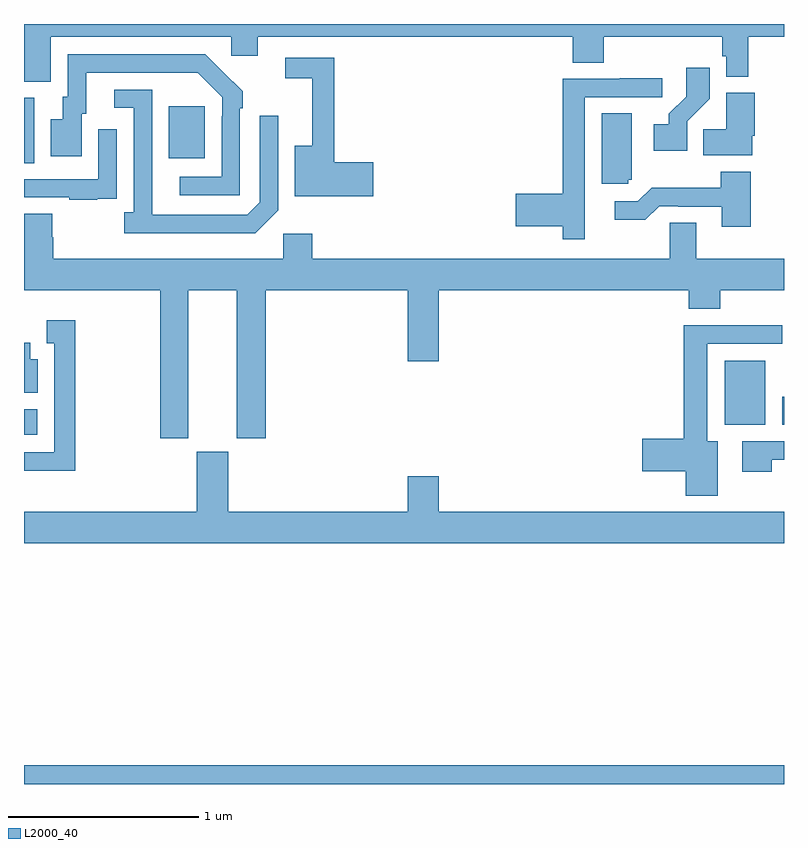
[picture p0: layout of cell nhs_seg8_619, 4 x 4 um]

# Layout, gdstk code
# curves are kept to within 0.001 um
import gdstk
lib = gdstk.Library(unit=1e-6, precision=1e-09)
def R(c, l, rs):  # rectangles x0, y0, x1, y1
    for r in rs: c.add(gdstk.rectangle(r[:2], r[2:], *l))
def P(c, l, *ps):  # polygons
    for p in ps: c.add(gdstk.Polygon(p, *l))
L2000_40 = (2000, 40)

nhs_seg8_619 = lib.new_cell('nhs_seg8_619')
R(nhs_seg8_619, L2000_40, [(151,1113.9,155,1114), (151,1115.738,151.069,1115.872), (154.688,1115.792,154.9,1116.127), (154.991,1115.792,155,1115.938), (151,1117.168,151.054,1117.512), (151.763,1117.193,151.951,1117.468)])
P(nhs_seg8_619, L2000_40, [(151.141,1117.832),(152.091,1117.832),(152.091,1117.734),(152.23,1117.734),(152.23,1117.832),(153.887,1117.832),(153.887,1117.696),(154.052,1117.696),(154.052,1117.832),(154.675,1117.832),(154.675,1117.731),(154.695,1117.731),(154.695,1117.622),(154.811,1117.622),(154.811,1117.832),(155,1117.832),(155,1117.9),(151,1117.9),(151,1117.832),(151.001,1117.832),(151.001,1117.597),(151.141,1117.597)],
  [(152.136,1117.457),(152.151,1117.457),(152.151,1117.545),(151.954,1117.74),(151.23,1117.74),(151.23,1117.518),(151.205,1117.518),(151.205,1117.399),(151.142,1117.399),(151.142,1117.203),(151.303,1117.203),(151.303,1117.428),(151.327,1117.428),(151.327,1117.644),(151.915,1117.644),(152.043,1117.515),(152.043,1117.415),(152.04,1117.415),(152.04,1117.095),(151.821,1117.095),(151.821,1116.999),(152.136,1116.999)],
  [(152.839,1117.172),(152.633,1117.172),(152.633,1117.722),(152.376,1117.722),(152.376,1117.614),(152.516,1117.614),(152.516,1117.258),(152.426,1117.258),(152.426,1116.994),(152.839,1116.994)],
  [(154.491,1117.387),(154.61,1117.506),(154.61,1117.669),(154.485,1117.669),(154.485,1117.517),(154.394,1117.427),(154.394,1117.372),(154.314,1117.372),(154.314,1117.232),(154.491,1117.232)],
  [(153.952,1116.99),(153.951,1116.99),(153.951,1117.515),(154.36,1117.515),(154.36,1117.614),(154.135,1117.614),(154.135,1117.611),(153.835,1117.611),(153.835,1117.007),(153.588,1117.007),(153.588,1116.836),(153.835,1116.836),(153.835,1116.768),(153.952,1116.768)],
  [(152.337,1116.921),(152.337,1117.417),(152.241,1117.417),(152.241,1116.963),(152.175,1116.897),(151.675,1116.897),(151.674,1117.554),(151.476,1117.554),(151.476,1117.458),(151.578,1117.458),(151.578,1116.91),(151.527,1116.91),(151.527,1116.8),(152.216,1116.8)],
  [(154.834,1117.312),(154.847,1117.312),(154.847,1117.537),(154.697,1117.537),(154.697,1117.346),(154.576,1117.346),(154.576,1117.208),(154.834,1117.208)],
  [(154.179,1117.08),(154.198,1117.08),(154.198,1117.429),(154.04,1117.429),(154.04,1117.059),(154.179,1117.059)],
  [(151.385,1116.981),(151.487,1116.981),(151.487,1117.09),(151.488,1117.09),(151.488,1117.345),(151.392,1117.345),(151.392,1117.083),(151,1117.083),(151,1116.987),(151.237,1116.987),(151.237,1116.975),(151.385,1116.975)],
  [(154.826,1117.123),(154.666,1117.123),(154.666,1117.039),(154.303,1117.039),(154.23,1116.966),(154.11,1116.966),(154.11,1116.869),(154.271,1116.869),(154.344,1116.942),(154.444,1116.942),(154.444,1116.939),(154.673,1116.939),(154.673,1116.834),(154.826,1116.834)],
  [(154.398,1116.854),(154.398,1116.664),(152.516,1116.664),(152.516,1116.796),(152.364,1116.796),(152.364,1116.664),(151.154,1116.664),(151.154,1116.777),(151.149,1116.777),(151.149,1116.902),(151.001,1116.902),(151.001,1116.77),(151,1116.77),(151,1116.5),(151.717,1116.5),(151.717,1115.721),(151.864,1115.721),(151.864,1116.5),(152.12,1116.5),(152.12,1115.721),(152.273,1115.721),(152.273,1116.5),(153.02,1116.5),(153.02,1116.126),(153.184,1116.126),(153.184,1116.5),(154.499,1116.5),(154.499,1116.401),(154.664,1116.401),(154.664,1116.5),(155,1116.5),(155,1116.664),(154.537,1116.664),(154.537,1116.854)],
  [(151.271,1116.34),(151.121,1116.34),(151.121,1116.219),(151.16,1116.219),(151.16,1115.646),(151,1115.646),(151,1115.55),(151.038,1115.55),(151.038,1115.549),(151.271,1115.549)],
  [(154.651,1115.704),(154.597,1115.704),(154.597,1116.216),(154.99,1116.216),(154.99,1116.314),(154.472,1116.314),(154.472,1115.717),(154.254,1115.717),(154.254,1115.546),(154.484,1115.546),(154.484,1115.418),(154.651,1115.418)],
  [(151.072,1116.136),(151.033,1116.136),(151.033,1116.223),(151,1116.223),(151,1115.96),(151.072,1115.96)],
  [(154.935,1115.607),(155,1115.607),(155,1115.703),(154.779,1115.703),(154.779,1115.544),(154.935,1115.544)],
  [(155,1115.332),(153.184,1115.332),(153.184,1115.521),(153.02,1115.521),(153.02,1115.332),(152.074,1115.332),(152.074,1115.649),(151.91,1115.649),(151.91,1115.332),(151,1115.332),(151,1115.168),(155,1115.168)])

lib.write_gds('nhs_seg8_619.gds')
